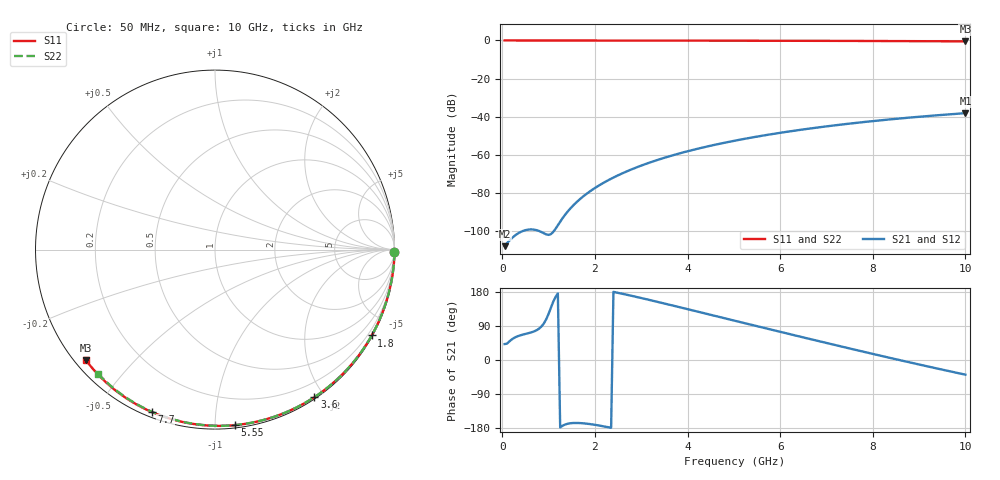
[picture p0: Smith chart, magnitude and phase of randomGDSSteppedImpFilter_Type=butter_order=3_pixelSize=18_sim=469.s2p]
! freq	dB(S11)	phase(S11)	dB(S12)	phase(S12)
!  dB(S21)	phase(S21)	dB(S22)	phase(S22)
!S-par simulation data
#  GHz  S  DB  R 50
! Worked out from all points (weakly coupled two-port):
!   200 points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, 50 MHz to 10 GHz, reference 50 ohm
!   highest |S21| = -38.16 dB at 10 GHz (marker M1); lowest = -108.0 dB at 50 MHz (marker M2)
!   lowest |S11| = -0.5 dB at 10 GHz (marker M3), VSWR 36.68, Z = 1.55 - j18.4 ohm
!   |S11| at or under -10 dB: nowhere
!   |S22| runs from -0.4 to 0.0 dB; largest |S21 - S12| = 0
!   S11 on the Smith chart (normalised r, x): 50 MHz: open; 1.8 GHz: 0.03, -3.91; 3.6 GHz: 0.02, -1.88; 5.55 GHz: 0.02, -1.12; 7.7 GHz: 0.02, -0.68; 10 GHz: 0.03, -0.37
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0.05  -0.00 -0.8  -107.97 42.1  -107.97 42.1  -0.00 -0.8
0.45  -0.01 -7.3  -99.95 67.2  -99.95 67.2  -0.01 -6.9
0.9  -0.02 -14.5  -101.24 97.0  -101.24 97.0  -0.02 -13.8
1.75  -0.04 -27.9  -81.80 -167.1  -81.80 -167.1  -0.03 -26.6
1.8  -0.04 -28.7  -80.85 -167.7  -80.85 -167.7  -0.03 -27.3
1.85  -0.04 -29.5  -79.94 -168.4  -79.94 -168.4  -0.04 -28.1
2  -0.04 -31.8  -77.44 -171.0  -77.44 -171.0  -0.04 -30.3
2.15  -0.04 -34.1  -75.21 -174.2  -75.21 -174.2  -0.04 -32.5
2.35  -0.05 -37.2  -72.55 -178.9  -72.55 -178.9  -0.05 -35.5
2.55  -0.05 -40.3  -70.19 176.0  -70.19 176.0  -0.05 -38.4
2.95  -0.06 -46.3  -66.14 165.0  -66.14 165.0  -0.06 -44.2
3.4  -0.07 -53.1  -62.33 152.0  -62.33 152.0  -0.07 -50.6
3.6  -0.08 -56.0  -60.84 146.1  -60.84 146.1  -0.07 -53.4
4.3  -0.09 -66.1  -56.35 125.2  -56.35 125.2  -0.09 -63.1
5.05  -0.12 -76.7  -52.46 102.7  -52.46 102.7  -0.11 -73.2
5.55  -0.14 -83.5  -50.25 87.8  -50.25 87.8  -0.13 -79.7
6.1  -0.16 -90.8  -48.10 71.4  -48.10 71.4  -0.15 -86.8
6.7  -0.19 -98.7  -46.03 53.7  -46.03 53.7  -0.18 -94.3
7.7  -0.26 -111.3  -43.10 24.7  -43.10 24.7  -0.24 -106.5
8.35  -0.31 -119.4  -41.48 6.2  -41.48 6.2  -0.29 -114.2
9.2  -0.39 -129.8  -39.64 -17.4  -39.64 -17.4  -0.36 -124.1
10  -0.47 -139.5  -38.16 -38.7  -38.16 -38.7  -0.45 -133.3
